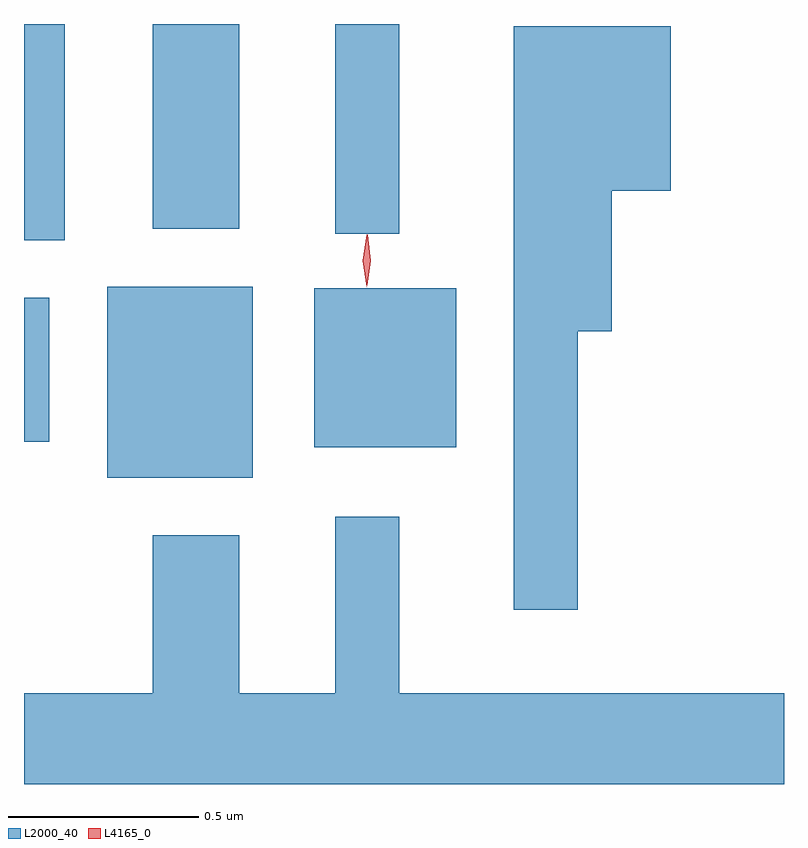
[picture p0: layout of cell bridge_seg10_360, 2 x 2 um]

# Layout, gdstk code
import gdstk
lib = gdstk.Library(unit=1e-6, precision=1e-09)
def R(c, l, rs):  # rectangles x0, y0, x1, y1
    for r in rs: c.add(gdstk.rectangle(r[:2], r[2:], *l))
def P(c, l, *ps):  # polygons
    for p in ps: c.add(gdstk.Polygon(p, *l))
L2000_40 = (2000, 40)
L4165_0 = (4165, 0)

bridge_seg10_360 = lib.new_cell('bridge_seg10_360')
R(bridge_seg10_360, L2000_40, [(1316.241,2188.011,1316.624,2188.514), (1316.786,2188.091,1317.159,2188.509), (1316.022,2188.106,1316.089,2188.484), (1316.022,2188.636,1316.129,2189.204), (1316.841,2188.653,1317.009,2189.205), (1316.361,2188.666,1316.589,2189.205)])
P(bridge_seg10_360, L2000_40, [(1317.479,2188.396),(1317.569,2188.396),(1317.569,2188.766),(1317.724,2188.766),(1317.724,2189.199),(1317.311,2189.199),(1317.311,2187.663),(1317.479,2187.663)],
  [(1318.022,2187.444),(1317.009,2187.444),(1317.009,2187.908),(1316.841,2187.908),(1316.841,2187.444),(1316.589,2187.444),(1316.589,2187.859),(1316.361,2187.859),(1316.361,2187.444),(1316.022,2187.444),(1316.022,2187.205),(1318.022,2187.205)])
P(bridge_seg10_360, L4165_0, [(1316.924,2188.514),(1316.924,2188.514),(1316.914,2188.582),(1316.924,2188.65),(1316.925,2188.65),(1316.926,2188.65),(1316.934,2188.582),(1316.924,2188.514)],
  [(1316.924,2188.518),(1316.915,2188.582),(1316.924,2188.646),(1316.925,2188.647),(1316.925,2188.646),(1316.935,2188.582),(1316.925,2188.518),(1316.925,2188.518)])

lib.write_gds('bridge_seg10_360.gds')
